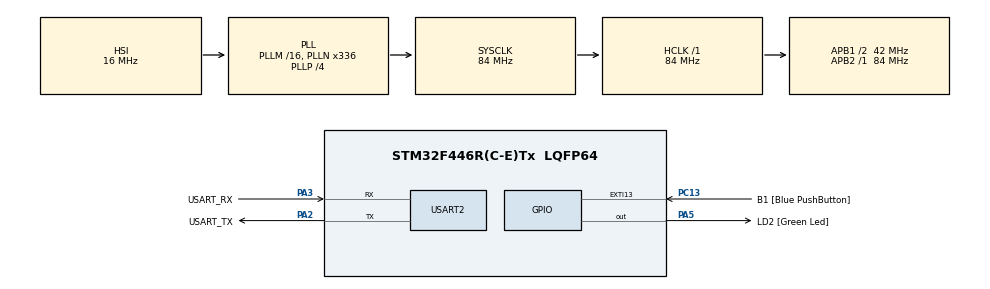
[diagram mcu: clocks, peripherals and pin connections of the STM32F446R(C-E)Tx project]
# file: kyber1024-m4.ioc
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Mcu.Family=STM32F4
Mcu.Name=STM32F446R(C-E)Tx
Mcu.Package=LQFP64
NVIC.PriorityGroup=NVIC_PRIORITYGROUP_0
PA13.GPIO_Label=TMS
PA13.Mode=Serial_Wire
PA13.Signal=SYS_JTMS-SWDIO
PA14.GPIO_Label=TCK
PA14.Mode=Serial_Wire
PA14.Signal=SYS_JTCK-SWCLK
PA2.GPIO_Label=USART_TX
PA2.Mode=Asynchronous
PA2.Signal=USART2_TX
PA3.GPIO_Label=USART_RX
PA3.Mode=Asynchronous
PA3.Signal=USART2_RX
PA5.GPIO_Label=LD2 [Green Led]
PA5.Signal=GPIO_Output
PB3.GPIO_Label=SWO
PB3.Signal=SYS_JTDO-SWO
PC13.GPIO_Label=B1 [Blue PushButton]
PC13.GPIO_ModeDefaultEXTI=GPIO_MODE_IT_FALLING
PC13.Signal=GPXTI13
PC14-OSC32_IN.Mode=LSE-External-Oscillator
PC14-OSC32_IN.Signal=RCC_OSC32_IN
PC15-OSC32_OUT.Mode=LSE-External-Oscillator
PC15-OSC32_OUT.Signal=RCC_OSC32_OUT
PH0-OSC_IN.Mode=HSE-External-Oscillator
PH0-OSC_IN.Signal=RCC_OSC_IN
PH1-OSC_OUT.Mode=HSE-External-Oscillator
PH1-OSC_OUT.Signal=RCC_OSC_OUT
ProjectManager.HeapSize=0x200
ProjectManager.StackSize=0x400
ProjectManager.TargetToolchain=STM32CubeIDE
RCC.48MHZClocksFreq_Value=84000000
RCC.AHBFreq_Value=84000000
RCC.APB1CLKDivider=RCC_HCLK_DIV2
RCC.APB1Freq_Value=42000000
RCC.APB1TimFreq_Value=84000000
RCC.APB2Freq_Value=84000000
RCC.APB2TimFreq_Value=84000000
RCC.CortexFreq_Value=84000000
RCC.FLatency-AdvancedSettings=FLASH_LATENCY_2
RCC.HCLKFreq_Value=84000000
RCC.HSE_VALUE=8000000
RCC.HSI_VALUE=16000000
RCC.PLLN=336
RCC.PLLP=RCC_PLLP_DIV4
RCC.SYSCLKFreq_VALUE=84000000
RCC.SYSCLKSource=RCC_SYSCLKSOURCE_PLLCLK
RCC.USBFreq_Value=168000000
RCC.VCOOutputFreq_Value=336000000
USART2.VirtualMode=VM_ASYNC
board=NUCLEO-F446RE

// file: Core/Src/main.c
/* USER CODE BEGIN Header */
/**
  ******************************************************************************
  * @file           : main.c
  * @brief          : Main program body
  ******************************************************************************
  * @attention
  *
  * Copyright (c) 2024 STMicroelectronics.
  * All rights reserved.
  *
  * This software is licensed under terms that can be found in the LICENSE file
  * in the root directory of this software component.
  * If no LICENSE file comes with this software, it is provided AS-IS.
  *
  ******************************************************************************
  */
/* USER CODE END Header */
#include "main.h"

/* USER CODE BEGIN Includes */
#include <stdio.h>
#include "../kyber1024/api.h"
/* USER CODE END Includes */

/* USER CODE BEGIN PD */
#define NTESTS 40

/* USER CODE END PD */

UART_HandleTypeDef huart2;

/* USER CODE BEGIN PV */
volatile unsigned int *DWT_CYCCNT  ;
volatile unsigned int *DWT_CONTROL ;
volatile unsigned int *SCB_DEMCR   ;
/* USER CODE END PV */

void SystemClock_Config(void);
static void MX_GPIO_Init(void);
static void MX_USART2_UART_Init(void);

/* USER CODE BEGIN 0 */
int _write(int file, char *ptr, int len){
	int i = 0;
	for(i = 0; i < len; i++)
		ITM_SendChar((*ptr++));
	return len;
}

static void printbytes(const unsigned char *x, unsigned long long xlen)
{
  char outs[2*xlen+1];
  unsigned long long i;
  for(i=0;i<xlen;i++)
    sprintf(outs+2*i, "%02x", x[i]);
  outs[2*xlen] = 0;
  printf("%s\n", outs);
}

void reset_timer(){
    DWT_CYCCNT   = (int *)0xE0001004; //address of the register
    DWT_CONTROL  = (int *)0xE0001000; //address of the register
    SCB_DEMCR    = (int *)0xE000EDFC; //address of the register
    *SCB_DEMCR   = *SCB_DEMCR | 0x01000000;
    *DWT_CYCCNT  = 0; // reset the counter
    *DWT_CONTROL = 0;
}

void start_timer(){
    *DWT_CONTROL = *DWT_CONTROL | 1 ; // enable the counter
}

void stop_timer(){
	*DWT_CONTROL = *DWT_CONTROL & 0xFFFFFFFE ; // disable the counter by clearing the enable bit
}

unsigned int getCycles(){
    return *DWT_CYCCNT;
}
/* USER CODE END 0 */

int main(void)
{

  /* USER CODE BEGIN 1 */
  unsigned char key_a[CRYPTO_BYTES], key_b[CRYPTO_BYTES];
  unsigned char pk[CRYPTO_PUBLICKEYBYTES];
  unsigned char sendb[CRYPTO_CIPHERTEXTBYTES];
  unsigned char sk_a[CRYPTO_SECRETKEYBYTES];
  unsigned int i,j;

  /* USER CODE END 1 */

  /* MCU Configuration--------------------------------------------------------*/

  /* Reset of all peripherals, Initializes the Flash interface and the Systick. */
  HAL_Init();

  /* Configure the system clock */
  SystemClock_Config();

  /* Initialize all configured peripherals */
  MX_GPIO_Init();
  MX_USART2_UART_Init();

  /* Infinite loop */
  while (1)
  {
	  //printf("%d\n", NTESTS);
    for(i=0;i<NTESTS;i++) {
      // Key-pair generation
	  int o = 2;
      int keypair_cycle = 0, enc_cycle = 0, dec_cycle = 0;
      reset_timer();
      start_timer();
      crypto_kem_keypair(pk, sk_a);
      stop_timer();
      keypair_cycle = getCycles();
      //printf("\n-> pk:\n");
      //printbytes(pk,CRYPTO_PUBLICKEYBYTES);
      //printf("\n-> sk_a:\n");
      //printbytes(sk_a,CRYPTO_SECRETKEYBYTES);

      // Encapsulation
      reset_timer();
      start_timer();
      crypto_kem_enc(sendb, key_b, pk);
      stop_timer();
      enc_cycle = getCycles();

      //printf("\n-> sendb:\n");
      //printbytes(sendb,CRYPTO_CIPHERTEXTBYTES);
      //printf("\n-> key_b:\n");
      //printbytes(key_b,CRYPTO_BYTES);

      // Decapsulation
      reset_timer();
      start_timer();
      crypto_kem_dec(key_a, sendb, sk_a);
      stop_timer();
      dec_cycle = getCycles();

      //printf("\n-> key_a:\n");
      //printbytes(key_a,CRYPTO_BYTES);
      printf("iteration: %d\n", i);
      printf("keypair_cycles: %d\n", keypair_cycle);
      printf("enc_cycle: %d\n", enc_cycle);
      printf("dec_cycle: %d\n", dec_cycle);

      for(j=0;j<CRYPTO_BYTES;j++) {
        if(key_a[j] != key_b[j]){
          printf("ERROR\n");
          return -1;
        }
      }
      //printf("SUCCESS\n");
    }
    printf("Finished tests.");
    return 0;
  }
}

void SystemClock_Config(void)
{
  RCC_OscInitTypeDef RCC_OscInitStruct = {0};
  RCC_ClkInitTypeDef RCC_ClkInitStruct = {0};

  /** Configure the main internal regulator output voltage
  */
  __HAL_RCC_PWR_CLK_ENABLE();
  __HAL_PWR_VOLTAGESCALING_CONFIG(PWR_REGULATOR_VOLTAGE_SCALE3);

  /** Initializes the RCC Oscillators according to the specified parameters
  * in the RCC_OscInitTypeDef structure.
  */
  RCC_OscInitStruct.OscillatorType = RCC_OSCILLATORTYPE_HSI;
  RCC_OscInitStruct.HSIState = RCC_HSI_ON;
  RCC_OscInitStruct.HSICalibrationValue = RCC_HSICALIBRATION_DEFAULT;
  RCC_OscInitStruct.PLL.PLLState = RCC_PLL_ON;
  RCC_OscInitStruct.PLL.PLLSource = RCC_PLLSOURCE_HSI;
  RCC_OscInitStruct.PLL.PLLM = 16;
  RCC_OscInitStruct.PLL.PLLN = 336;
  RCC_OscInitStruct.PLL.PLLP = RCC_PLLP_DIV4;
  RCC_OscInitStruct.PLL.PLLQ = 2;
  RCC_OscInitStruct.PLL.PLLR = 2;
  if (HAL_RCC_OscConfig(&RCC_OscInitStruct) != HAL_OK)
  {
    Error_Handler();
  }

  /** Initializes the CPU, AHB and APB buses clocks
  */
  RCC_ClkInitStruct.ClockType = RCC_CLOCKTYPE_HCLK|RCC_CLOCKTYPE_SYSCLK
                              |RCC_CLOCKTYPE_PCLK1|RCC_CLOCKTYPE_PCLK2;
  RCC_ClkInitStruct.SYSCLKSource = RCC_SYSCLKSOURCE_PLLCLK;
  RCC_ClkInitStruct.AHBCLKDivider = RCC_SYSCLK_DIV1;
  RCC_ClkInitStruct.APB1CLKDivider = RCC_HCLK_DIV2;
  RCC_ClkInitStruct.APB2CLKDivider = RCC_HCLK_DIV1;

  if (HAL_RCC_ClockConfig(&RCC_ClkInitStruct, FLASH_LATENCY_2) != HAL_OK)
  {
    Error_Handler();
  }
}

static void MX_USART2_UART_Init(void)
{

  huart2.Instance = USART2;
  huart2.Init.BaudRate = 115200;
  huart2.Init.WordLength = UART_WORDLENGTH_8B;
  huart2.Init.StopBits = UART_STOPBITS_1;
  huart2.Init.Parity = UART_PARITY_NONE;
  huart2.Init.Mode = UART_MODE_TX_RX;
  huart2.Init.HwFlowCtl = UART_HWCONTROL_NONE;
  huart2.Init.OverSampling = UART_OVERSAMPLING_16;
  if (HAL_UART_Init(&huart2) != HAL_OK)
  {
    Error_Handler();
  }

}

static void MX_GPIO_Init(void)
{
  GPIO_InitTypeDef GPIO_InitStruct = {0};

  /* GPIO Ports Clock Enable */
  __HAL_RCC_GPIOC_CLK_ENABLE();
  __HAL_RCC_GPIOH_CLK_ENABLE();
  __HAL_RCC_GPIOA_CLK_ENABLE();
  __HAL_RCC_GPIOB_CLK_ENABLE();

  /*Configure GPIO pin Output Level */
  HAL_GPIO_WritePin(LD2_GPIO_Port, LD2_Pin, GPIO_PIN_RESET);

  /*Configure GPIO pin : B1_Pin */
  GPIO_InitStruct.Pin = B1_Pin;
  GPIO_InitStruct.Mode = GPIO_MODE_IT_FALLING;
  GPIO_InitStruct.Pull = GPIO_NOPULL;
  HAL_GPIO_Init(B1_GPIO_Port, &GPIO_InitStruct);

  /*Configure GPIO pin : LD2_Pin */
  GPIO_InitStruct.Pin = LD2_Pin;
  GPIO_InitStruct.Mode = GPIO_MODE_OUTPUT_PP;
  GPIO_InitStruct.Pull = GPIO_NOPULL;
  GPIO_InitStruct.Speed = GPIO_SPEED_FREQ_LOW;
  HAL_GPIO_Init(LD2_GPIO_Port, &GPIO_InitStruct);

}

void Error_Handler(void)
{
  __disable_irq();
  while (1)
  {
  }
}
